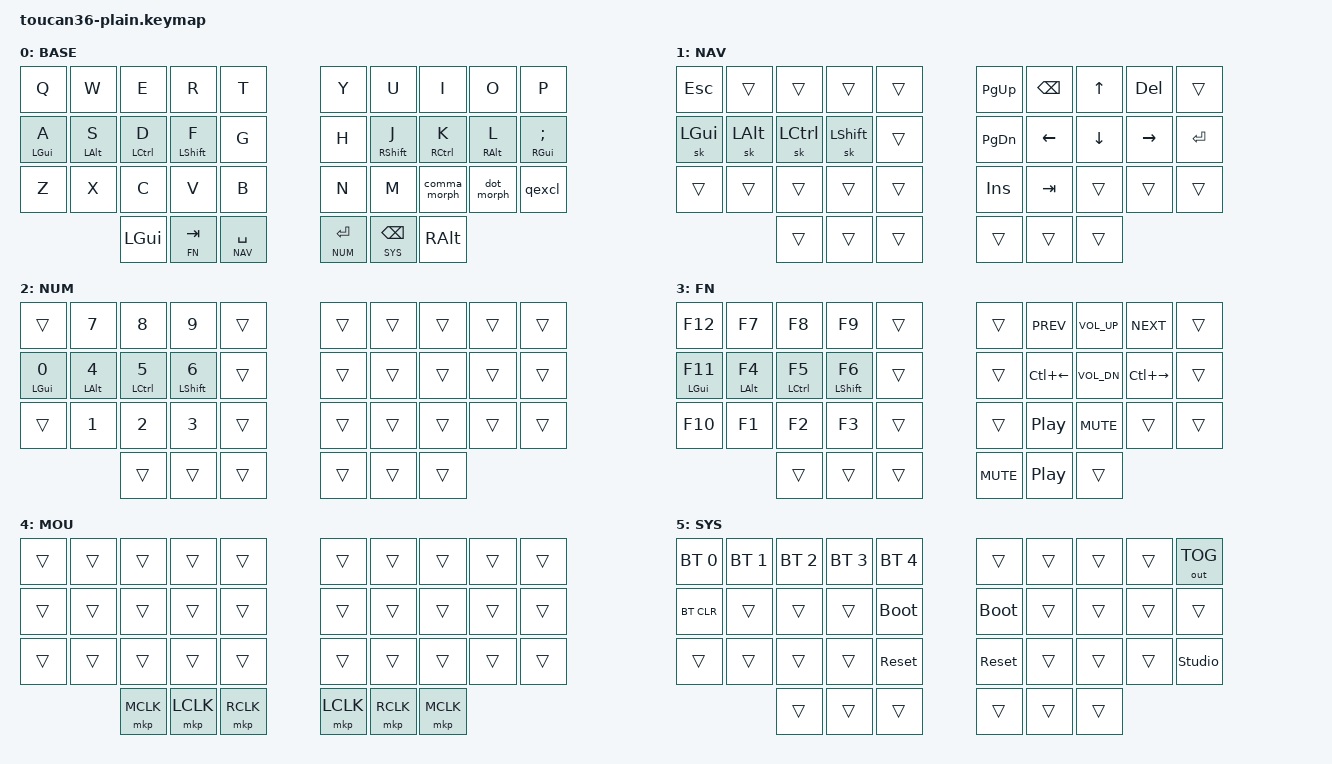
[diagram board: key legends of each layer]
/*
 * keymap-drawer:
 * layout:
 *   ortho_layout:
 *     split: true
 *     rows: 3
 *     columns: 5
 *     thumbs: 3
 */

/* toucan36-plain.keymap — same layout as toucan36.keymap but without zmk-helpers,
 * suitable for paste into https://keymap-drawer.streamlit.app/
 */

#include <behaviors.dtsi>
#include <dt-bindings/zmk/keys.h>
#include <dt-bindings/zmk/bt.h>
#include <dt-bindings/zmk/outputs.h>
#include <dt-bindings/zmk/pointing.h>

/* ── Layer indices ─────────────────────────────────────────────────────────── */
#define BASE  0
#define NAV   1
#define NUM   2
#define FN    3
#define MOUSE 4
#define SYS   5

/* ── Readability shorthand ─────────────────────────────────────────────────── */
#define ___ &trans

/* ── Combo timing ──────────────────────────────────────────────────────────── */
#define COMBO_TERM_FAST 18
#define COMBO_TERM_SLOW 30
#define COMBO_IDLE_FAST 150
#define COMBO_IDLE_SLOW 50

/* ── Key-position constants (36-key: 5 cols × 3 rows + 3 thumbs/side)
 *
 *   0  1  2  3  4    5  6  7  8  9
 *  10 11 12 13 14   15 16 17 18 19
 *  20 21 22 23 24   25 26 27 28 29
 *        30 31 32   33 34 35
 *
 *  LT4 LT3 LT2 LT1 LT0  RT0 RT1 RT2 RT3 RT4
 *  LM4 LM3 LM2 LM1 LM0  RM0 RM1 RM2 RM3 RM4
 *  LB4 LB3 LB2 LB1 LB0  RB0 RB1 RB2 RB3 RB4
 *      LH2 LH1 LH0       RH0 RH1 RH2
 * ─────────────────────────────────────────── */
#define KEYS_L  4  3  2  1  0   14 13 12 11 10   24 23 22 21 20
#define KEYS_R  5  6  7  8  9   15 16 17 18 19   25 26 27 28 29
#define THUMBS 32 31 30 33 34 35

/ {
    behaviors {
        /* timerless home-row mod — left hand (triggers on right keys + thumbs) */
        hml: hml {
            compatible = "zmk,behavior-hold-tap";
            #binding-cells = <2>;
            bindings = <&kp>, <&kp>;
            flavor = "balanced";
            tapping-term-ms = <280>;
            quick-tap-ms = <175>;
            require-prior-idle-ms = <150>;
            hold-trigger-on-release;
            hold-trigger-key-positions = <KEYS_R THUMBS>;
        };

        /* timerless home-row mod — right hand (triggers on left keys + thumbs) */
        hmr: hmr {
            compatible = "zmk,behavior-hold-tap";
            #binding-cells = <2>;
            bindings = <&kp>, <&kp>;
            flavor = "balanced";
            tapping-term-ms = <280>;
            quick-tap-ms = <175>;
            require-prior-idle-ms = <150>;
            hold-trigger-on-release;
            hold-trigger-key-positions = <KEYS_L THUMBS>;
        };

        /* Shift morphs (from urob): , → ; . → : ? → ! */
        comma_morph: comma_morph {
            compatible = "zmk,behavior-mod-morph";
            #binding-cells = <0>;
            bindings = <&kp COMMA>, <&kp SEMICOLON>;
            mods = <(MOD_LSFT | MOD_RSFT)>;
        };
        dot_morph: dot_morph {
            compatible = "zmk,behavior-mod-morph";
            #binding-cells = <0>;
            bindings = <&kp DOT>, <&kp COLON>;
            mods = <(MOD_LSFT | MOD_RSFT)>;
        };
        qexcl: qexcl {
            compatible = "zmk,behavior-mod-morph";
            #binding-cells = <0>;
            bindings = <&kp QMARK>, <&kp EXCL>;
            mods = <(MOD_LSFT | MOD_RSFT)>;
        };
    };

    combos {
        compatible = "zmk,combos";

        /* ESC — top-left corner, always active */
        combo_esc {
            timeout-ms = <COMBO_TERM_FAST>;
            key-positions = <0 1>;          /* LT4 LT3 */
            bindings = <&kp ESC>;
        };

        /* ── horizontal left ──────────────────────────────────────────────── */
        combo_tab {
            timeout-ms = <COMBO_TERM_FAST>;
            require-prior-idle-ms = <COMBO_IDLE_FAST>;
            key-positions = <11 12>;        /* LM3 LM2 = S+D */
            bindings = <&kp TAB>;
            layers = <BASE NAV NUM>;
        };
        combo_cut {
            timeout-ms = <COMBO_TERM_FAST>;
            require-prior-idle-ms = <COMBO_IDLE_FAST>;
            key-positions = <21 23>;        /* LB3 LB1 = Z+V (skip X) */
            bindings = <&kp LC(X)>;
            layers = <BASE NAV NUM>;
        };
        combo_copy {
            timeout-ms = <COMBO_TERM_FAST>;
            require-prior-idle-ms = <COMBO_IDLE_FAST>;
            key-positions = <21 22>;        /* LB3 LB2 = Z+X */
            bindings = <&kp LC(INS)>;
            layers = <BASE NAV NUM>;
        };
        combo_paste {
            timeout-ms = <COMBO_TERM_FAST>;
            require-prior-idle-ms = <COMBO_IDLE_FAST>;
            key-positions = <22 23>;        /* LB2 LB1 = X+C */
            bindings = <&kp LS(INS)>;
            layers = <BASE NAV NUM>;
        };

        /* ── horizontal right ─────────────────────────────────────────────── */
        combo_bspc {
            timeout-ms = <COMBO_TERM_FAST>;
            require-prior-idle-ms = <COMBO_IDLE_FAST>;
            key-positions = <6 7>;          /* RT1 RT2 = U+I */
            bindings = <&kp BSPC>;
            layers = <BASE NAV NUM>;
        };
        combo_del {
            timeout-ms = <COMBO_TERM_FAST>;
            require-prior-idle-ms = <COMBO_IDLE_FAST>;
            key-positions = <7 8>;          /* RT2 RT3 = I+O */
            bindings = <&kp DEL>;
            layers = <BASE NAV NUM>;
        };
        /* parens on BASE/NUM; angle brackets on NAV (same positions) */
        combo_lpar {
            timeout-ms = <COMBO_TERM_FAST>;
            require-prior-idle-ms = <COMBO_IDLE_FAST>;
            key-positions = <16 17>;        /* RM1 RM2 = J+K */
            bindings = <&kp LPAR>;
            layers = <BASE NUM>;
        };
        combo_rpar {
            timeout-ms = <COMBO_TERM_FAST>;
            require-prior-idle-ms = <COMBO_IDLE_FAST>;
            key-positions = <17 18>;        /* RM2 RM3 = K+L */
            bindings = <&kp RPAR>;
            layers = <BASE NUM>;
        };
        combo_lt {
            timeout-ms = <COMBO_TERM_FAST>;
            require-prior-idle-ms = <COMBO_IDLE_FAST>;
            key-positions = <16 17>;        /* RM1 RM2 = J+K */
            bindings = <&kp LT>;
            layers = <NAV>;
        };
        combo_gt {
            timeout-ms = <COMBO_TERM_FAST>;
            require-prior-idle-ms = <COMBO_IDLE_FAST>;
            key-positions = <17 18>;        /* RM2 RM3 = K+L */
            bindings = <&kp GT>;
            layers = <NAV>;
        };
        /* brackets on BASE/NUM; braces on NAV (same positions) */
        combo_lbkt {
            timeout-ms = <COMBO_TERM_FAST>;
            require-prior-idle-ms = <COMBO_IDLE_FAST>;
            key-positions = <26 27>;        /* RB1 RB2 = M+, */
            bindings = <&kp LBKT>;
            layers = <BASE NUM>;
        };
        combo_rbkt {
            timeout-ms = <COMBO_TERM_FAST>;
            require-prior-idle-ms = <COMBO_IDLE_FAST>;
            key-positions = <27 28>;        /* RB2 RB3 = ,+. */
            bindings = <&kp RBKT>;
            layers = <BASE NUM>;
        };
        combo_lbrc {
            timeout-ms = <COMBO_TERM_FAST>;
            require-prior-idle-ms = <COMBO_IDLE_FAST>;
            key-positions = <26 27>;        /* RB1 RB2 = M+, */
            bindings = <&kp LBRC>;
            layers = <NAV>;
        };
        combo_rbrc {
            timeout-ms = <COMBO_TERM_FAST>;
            require-prior-idle-ms = <COMBO_IDLE_FAST>;
            key-positions = <27 28>;        /* RB2 RB3 = ,+. */
            bindings = <&kp RBRC>;
            layers = <NAV>;
        };

        /* ── vertical left ────────────────────────────────────────────────── */
        combo_at {
            timeout-ms = <COMBO_TERM_SLOW>;
            require-prior-idle-ms = <COMBO_IDLE_SLOW>;
            key-positions = <1 11>;         /* LT3 LM3 = W+S */
            bindings = <&kp AT>;
            layers = <BASE NAV NUM>;
        };
        combo_hash {
            timeout-ms = <COMBO_TERM_SLOW>;
            require-prior-idle-ms = <COMBO_IDLE_SLOW>;
            key-positions = <2 12>;         /* LT2 LM2 = E+D */
            bindings = <&kp HASH>;
            layers = <BASE NAV NUM>;
        };
        combo_dllr {
            timeout-ms = <COMBO_TERM_SLOW>;
            require-prior-idle-ms = <COMBO_IDLE_SLOW>;
            key-positions = <3 13>;         /* LT1 LM1 = R+F */
            bindings = <&kp DLLR>;
            layers = <BASE NAV NUM>;
        };
        combo_prcnt {
            timeout-ms = <COMBO_TERM_SLOW>;
            require-prior-idle-ms = <COMBO_IDLE_SLOW>;
            key-positions = <4 14>;         /* LT0 LM0 = T+G */
            bindings = <&kp PRCNT>;
            layers = <BASE NAV NUM>;
        };
        combo_grave {
            timeout-ms = <COMBO_TERM_SLOW>;
            require-prior-idle-ms = <COMBO_IDLE_SLOW>;
            key-positions = <11 21>;        /* LM3 LB3 = S+Z */
            bindings = <&kp GRAVE>;
            layers = <BASE NAV NUM>;
        };
        combo_bslh {
            timeout-ms = <COMBO_TERM_SLOW>;
            require-prior-idle-ms = <COMBO_IDLE_SLOW>;
            key-positions = <12 22>;        /* LM2 LB2 = D+X */
            bindings = <&kp BSLH>;
            layers = <BASE NAV NUM>;
        };
        combo_equal {
            timeout-ms = <COMBO_TERM_SLOW>;
            require-prior-idle-ms = <COMBO_IDLE_SLOW>;
            key-positions = <13 23>;        /* LM1 LB1 = F+V */
            bindings = <&kp EQUAL>;
            layers = <BASE NAV NUM>;
        };
        combo_tilde {
            timeout-ms = <COMBO_TERM_SLOW>;
            require-prior-idle-ms = <COMBO_IDLE_SLOW>;
            key-positions = <14 24>;        /* LM0 LB0 = G+B */
            bindings = <&kp TILDE>;
            layers = <BASE NAV NUM>;
        };

        /* ── vertical right ───────────────────────────────────────────────── */
        combo_caret {
            timeout-ms = <COMBO_TERM_SLOW>;
            require-prior-idle-ms = <COMBO_IDLE_SLOW>;
            key-positions = <5 15>;         /* RT0 RM0 = Y+H */
            bindings = <&kp CARET>;
            layers = <BASE NAV NUM>;
        };
        combo_plus {
            timeout-ms = <COMBO_TERM_SLOW>;
            require-prior-idle-ms = <COMBO_IDLE_SLOW>;
            key-positions = <6 16>;         /* RT1 RM1 = U+J */
            bindings = <&kp PLUS>;
            layers = <BASE NAV NUM>;
        };
        combo_star {
            timeout-ms = <COMBO_TERM_SLOW>;
            require-prior-idle-ms = <COMBO_IDLE_SLOW>;
            key-positions = <7 17>;         /* RT2 RM2 = I+K */
            bindings = <&kp STAR>;
            layers = <BASE NAV NUM>;
        };
        combo_amps {
            timeout-ms = <COMBO_TERM_SLOW>;
            require-prior-idle-ms = <COMBO_IDLE_SLOW>;
            key-positions = <8 18>;         /* RT3 RM3 = O+L */
            bindings = <&kp AMPS>;
            layers = <BASE NAV NUM>;
        };
        combo_under {
            timeout-ms = <COMBO_TERM_SLOW>;
            require-prior-idle-ms = <COMBO_IDLE_SLOW>;
            key-positions = <15 25>;        /* RM0 RB0 = H+N */
            bindings = <&kp UNDER>;
            layers = <BASE NAV NUM>;
        };
        combo_minus {
            timeout-ms = <COMBO_TERM_SLOW>;
            require-prior-idle-ms = <COMBO_IDLE_SLOW>;
            key-positions = <16 26>;        /* RM1 RB1 = J+M */
            bindings = <&kp MINUS>;
            layers = <BASE NAV NUM>;
        };
        combo_fslh {
            timeout-ms = <COMBO_TERM_SLOW>;
            require-prior-idle-ms = <COMBO_IDLE_SLOW>;
            key-positions = <17 27>;        /* RM2 RB2 = K+, */
            bindings = <&kp FSLH>;
            layers = <BASE NAV NUM>;
        };
        combo_pipe {
            timeout-ms = <COMBO_TERM_SLOW>;
            require-prior-idle-ms = <COMBO_IDLE_SLOW>;
            key-positions = <18 28>;        /* RM3 RB3 = L+. */
            bindings = <&kp PIPE>;
            layers = <BASE NAV NUM>;
        };
    };

    keymap {
        compatible = "zmk,keymap";

        /* BASE — QWERTY with timerless home-row mods (GACS order, pinky→index)
         *
         *  Punctuation morphs on bottom row: , → ; . → : ? → !
         *  NOTE: smart_num and magic_shift require external modules (zmk-auto-layer, zmk-adaptive-key)
         *        and are not available in this plain variant. Use toucan36.keymap for full features.
         *
         *  Thumb cluster:
         *    L0: LGUI          L1: NAV/SPACE      L2: FN/RET
         *    R0: NUM/RET       R1: SYS/BSPC       R2: RALT
         */
        base {
            display-name = "BASE";
            bindings = <
// ╭──────────────────┬──────────────────┬──────────────────┬──────────────────┬─────────╮ ╭─────────┬──────────────────┬──────────────────┬───────────────┬──────────────────╮
   &kp Q               &kp W              &kp E              &kp R              &kp T       &kp Y     &kp U              &kp I              &kp O           &kp P
// ├──────────────────┼──────────────────┼──────────────────┼──────────────────┼─────────┤ ├─────────┼──────────────────┼──────────────────┼───────────────┼──────────────────┤
   &hml LGUI A          &hml LALT S        &hml LCTRL D       &hml LSHFT F       &kp G       &kp H     &hmr RSHFT J       &hmr RCTRL K       &hmr RALT L     &hmr RGUI SEMI
// ├──────────────────┼──────────────────┼──────────────────┼──────────────────┼─────────┤ ├─────────┼──────────────────┼──────────────────┼───────────────┼──────────────────┤
   &kp Z               &kp X              &kp C              &kp V              &kp B       &kp N     &kp M              &comma_morph       &dot_morph      &qexcl
// ╰──────────────────┴──────────────────┴──────────────────┼──────────────────┼─────────┤ ├─────────┼──────────────────┼──────────────────┼───────────────┴──────────────────╯
                                                              &kp LGUI           &lt FN TAB   &lt NAV SPACE   &lt NUM RET   &lt SYS BSPC   &kp RALT
//                                                           ╰──────────────────┴─────────╯ ╰─────────┴──────────────────┴──────────────────╯
            >;
        };

        /* NAV — navigation + one-shot mods */
        nav {
            display-name = "NAV";
            bindings = <
// ╭──────────┬─────────┬─────────┬──────────┬─────╮ ╭───────────┬──────────┬──────────┬───────────┬─────────╮
   &kp ESC     ___       ___       ___         ___    &kp PG_UP   &kp BSPC   &kp UP     &kp DEL     ___
// ├──────────┼─────────┼─────────┼──────────┼─────┤ ├───────────┼──────────┼──────────┼───────────┼─────────┤
   &sk LGUI    &sk LALT  &sk LCTRL &sk LSHFT   ___    &kp PG_DN   &kp LEFT   &kp DOWN   &kp RIGHT   &kp RET
// ├──────────┼─────────┼─────────┼──────────┼─────┤ ├───────────┼──────────┼──────────┼───────────┼─────────┤
   ___          ___       ___       ___         ___    &kp INS     &kp TAB    ___        ___         ___
// ╰──────────┴─────────┴─────────┼──────────┼─────┤ ├───────────┼──────────┼──────────┼───────────┴─────────╯
                                    ___         ___    ___         ___        ___        ___
//                                 ╰──────────┴─────╯ ╰───────────┴──────────┴──────────┴─────╯
            >;
        };

        /* NUM — numpad-style numbers with HRMs for modifier access */
        num {
            display-name = "NUM";
            bindings = <
// ╭─────┬──────────┬──────────┬──────────┬─────╮ ╭─────┬─────┬─────┬─────┬─────╮
   ___     &kp N7    &kp N8     &kp N9     ___    ___   ___   ___   ___   ___
// ├─────┼──────────┼──────────┼──────────┼─────┤ ├─────┼─────┼─────┼─────┼─────┤
   &hml LGUI N0   &hml LALT N4   &hml LCTRL N5   &hml LSHFT N6   ___    ___   ___   ___   ___   ___
// ├─────┼──────────┼──────────┼──────────┼─────┤ ├─────┼─────┼─────┼─────┼─────┤
   ___     &kp N1    &kp N2     &kp N3     ___    ___   ___   ___   ___   ___
// ╰─────┴──────────┴──────────┼──────────┼─────┤ ├─────┼─────┼─────┼─────┴─────╯
                                ___        ___    ___   ___   ___   ___
//                             ╰──────────┴─────╯ ╰─────┴─────┴─────┴─────╯
            >;
        };

        /* FN — function keys + media controls */
        fn {
            display-name = "FN";
            bindings = <
// ╭──────────┬──────────┬──────────┬──────────┬─────╮ ╭─────┬───────────┬────────────┬────────────┬─────╮
   &kp F12     &kp F7     &kp F8     &kp F9     ___    ___   &kp C_PREV   &kp C_VOL_UP  &kp C_NEXT   ___
// ├──────────┼──────────┼──────────┼──────────┼─────┤ ├─────┼───────────┼────────────┼────────────┼─────┤
   &hml LGUI F11   &hml LALT F4   &hml LCTRL F5   &hml LSHFT F6   ___    ___   &kp LC(LEFT)   &kp C_VOL_DN   &kp LC(RIGHT)   ___
// ├──────────┼──────────┼──────────┼──────────┼─────┤ ├─────┼───────────┼────────────┼────────────┼─────┤
   &kp F10     &kp F1     &kp F2     &kp F3     ___    ___   &kp C_PP    &kp C_MUTE   ___          ___
// ╰──────────┴──────────┴──────────┼──────────┼─────┤ ├─────┼───────────┼────────────┼────────────┴─────╯
                                      ___        ___    ___   &kp C_MUTE   &kp C_PP   ___
//                                   ╰──────────┴─────╯ ╰─────┴───────────┴────────────┴─────╯
            >;
        };

        /* MOUSE — activated automatically while the trackpad is touched
         * (toucan36.dtsi is_touching_processor: `&mo 4`); thumbs give click
         * buttons since the trackpad has none of its own.
         */
        mouse {
            display-name = "MOU";
            bindings = <
// ╭─────┬─────┬─────┬─────┬─────╮ ╭─────┬─────┬─────┬─────┬─────╮
   ___     ___   ___   ___   ___    ___   ___   ___   ___   ___
// ├─────┼─────┼─────┼─────┼─────┤ ├─────┼─────┼─────┼─────┼─────┤
   ___     ___   ___   ___   ___    ___   ___   ___   ___   ___
// ├─────┼─────┼─────┼─────┼─────┤ ├─────┼─────┼─────┼─────┼─────┤
   ___     ___   ___   ___   ___    ___   ___   ___   ___   ___
// ╰─────┴─────┴─────┼─────┼─────┤ ├─────┼─────┼─────┴─────┴─────╯
                       &mkp MCLK  &mkp LCLK  &mkp RCLK    &mkp LCLK  &mkp RCLK  &mkp MCLK
//                    ╰─────┴─────┴─────╯ ╰─────┴─────┴─────╯
            >;
        };

        /* SYS — Bluetooth profile selection + system controls */
        sys {
            display-name = "SYS";
            bindings = <
// ╭──────────────┬──────────────┬──────────────┬──────────────┬──────────────╮ ╭─────┬─────┬─────┬─────┬──────────────╮
   &bt BT_SEL 0   &bt BT_SEL 1   &bt BT_SEL 2   &bt BT_SEL 3   &bt BT_SEL 4   ___   ___   ___   ___   &out OUT_TOG
// ├──────────────┼──────────────┼──────────────┼──────────────┼──────────────┤ ├─────┼─────┼─────┼─────┼──────────────┤
   &bt BT_CLR      ___            ___            ___            &bootloader      &bootloader   ___   ___   ___   ___
// ├──────────────┼──────────────┼──────────────┼──────────────┼──────────────┤ ├─────┼─────┼─────┼─────┼──────────────┤
   ___             ___            ___            ___            &sys_reset       &sys_reset   ___   ___   ___   &studio_unlock
// ╰──────────────┴──────────────┴──────────────┼──────────────┼──────────────┤ ├─────┼─────┼─────┼─────┴──────────────╯
                                                  ___            ___              ___   ___   ___   ___
//                                               ╰──────────────┴──────────────╯ ╰─────┴─────┴─────┴─────╯
            >;
        };

        extra_1 {
                status = "reserved";
        };

        extra_2 {
                status = "reserved";
        };
    };
};
